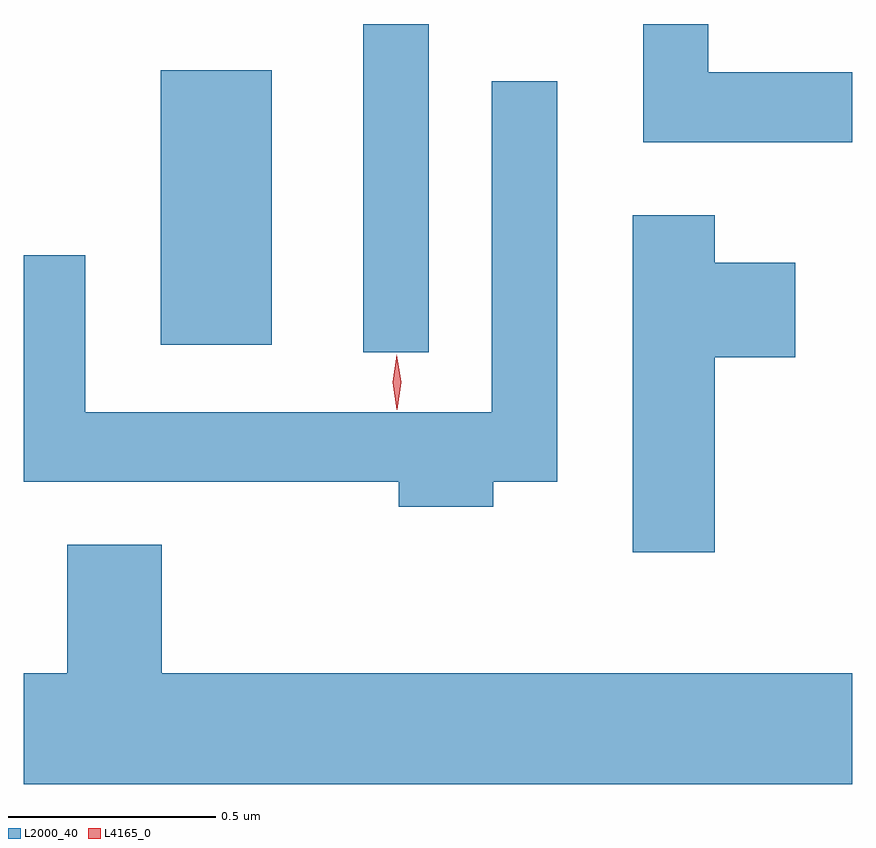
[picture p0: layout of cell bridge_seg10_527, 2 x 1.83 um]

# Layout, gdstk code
import gdstk
lib = gdstk.Library(unit=1e-6, precision=1e-09)
def R(c, l, rs):  # rectangles x0, y0, x1, y1
    for r in rs: c.add(gdstk.rectangle(r[:2], r[2:], *l))
def P(c, l, *ps):  # polygons
    for p in ps: c.add(gdstk.Polygon(p, *l))
L2000_40 = (2000, 40)
L4165_0 = (4165, 0)

bridge_seg10_527 = lib.new_cell('bridge_seg10_527')
R(bridge_seg10_527, L2000_40, [(880.646,2179.338,880.804,2180.131), (880.156,2179.356,880.424,2180.019)])
P(bridge_seg10_527, L2000_40, [(881.826,2180.014),(881.479,2180.014),(881.479,2180.131),(881.321,2180.131),(881.321,2179.846),(881.826,2179.846)],
  [(880.959,2179.026),(881.114,2179.026),(881.114,2179.993),(880.956,2179.993),(880.956,2179.194),(879.974,2179.194),(879.974,2179.573),(879.826,2179.573),(879.826,2179.026),(880.731,2179.026),(880.731,2178.966),(880.959,2178.966)],
  [(881.494,2179.326),(881.689,2179.326),(881.689,2179.554),(881.494,2179.554),(881.494,2179.669),(881.296,2179.669),(881.296,2178.856),(881.494,2178.856)],
  [(881.826,2178.564),(880.159,2178.564),(880.159,2178.874),(879.931,2178.874),(879.931,2178.564),(879.826,2178.564),(879.826,2178.296),(881.826,2178.296)])
P(bridge_seg10_527, L4165_0, [(880.727,2179.2),(880.727,2179.2),(880.717,2179.266),(880.726,2179.332),(880.727,2179.333),(880.727,2179.332),(880.737,2179.266),(880.728,2179.2)])

lib.write_gds('bridge_seg10_527.gds')
